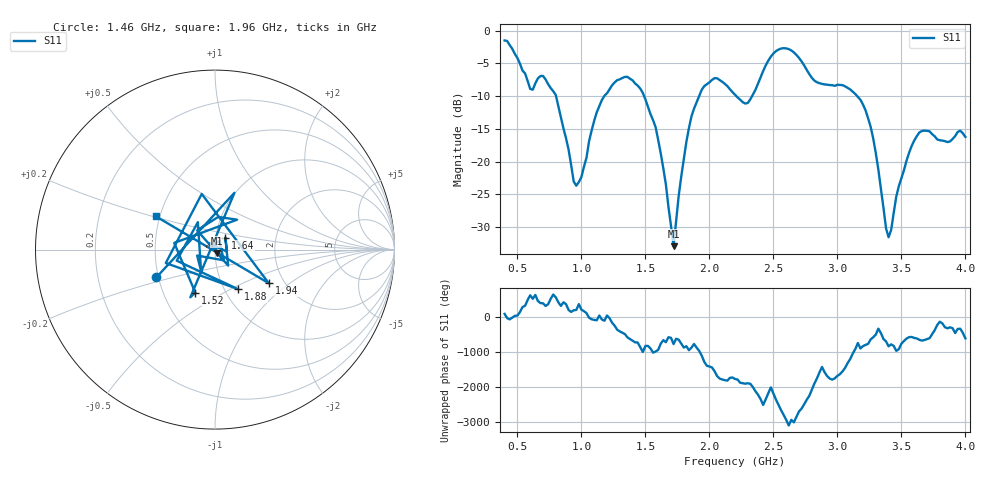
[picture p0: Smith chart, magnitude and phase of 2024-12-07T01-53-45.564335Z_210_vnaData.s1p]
!Created with skrf (http://scikit-rf.org).
# Hz S RI R 50.0
!freq ReS11 ImS11
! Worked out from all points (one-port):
!   181 points, 400 MHz to 4 GHz, reference 50 ohm
!   lowest |S11| = -32.9 dB at 1.72 GHz (marker M1), VSWR 1.05, Z = 51 - j2.06 ohm
!   |S11| at or under -10 dB: 801.9 MHz to 1.178 GHz (376.1 MHz wide, 38 % of centre); 1.49 GHz to 1.919 GHz (428.5 MHz wide, 25.1 % of centre); 3.155 GHz to end of sweep (the widest 3 of 4)
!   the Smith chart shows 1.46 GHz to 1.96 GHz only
!   S11 on the Smith chart (normalised r, x): 1.46 GHz: 0.49, -0.17; 1.52 GHz: 0.72, -0.37; 1.64 GHz: 1.11, +0.15; 1.88 GHz: 1.16, -0.54; 1.94 GHz: 1.67, -0.71; 1.96 GHz: 0.48, +0.21
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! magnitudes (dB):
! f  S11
! 400 MHz  -1.5
! 600 MHz  -8.9
! 720 MHz  -7.4
! 800 MHz  -9.8
! 860 MHz  -14.9
! 960 MHz  -23.7
! 1.12 GHz  -12.5
! 1.3 GHz  -7.4
! 1.46 GHz  -8.8
! 1.52 GHz  -11.6
! 1.64 GHz  -21.0
! 1.72 GHz  -32.9
! 1.76 GHz  -25.2
! 1.88 GHz  -11.9
! 1.94 GHz  -9.0
! 1.96 GHz  -8.5
! 2.06 GHz  -7.3
! 2.2 GHz  -9.8
! 2.3 GHz  -11.0
! 2.5 GHz  -3.5
! 2.66 GHz  -3.3
! 2.84 GHz  -7.9
! 3.1 GHz  -9.0
! 3.26 GHz  -14.7
! 3.4 GHz  -31.5
! 3.56 GHz  -18.7
! 3.66 GHz  -15.3
! 4 GHz  -16.2
